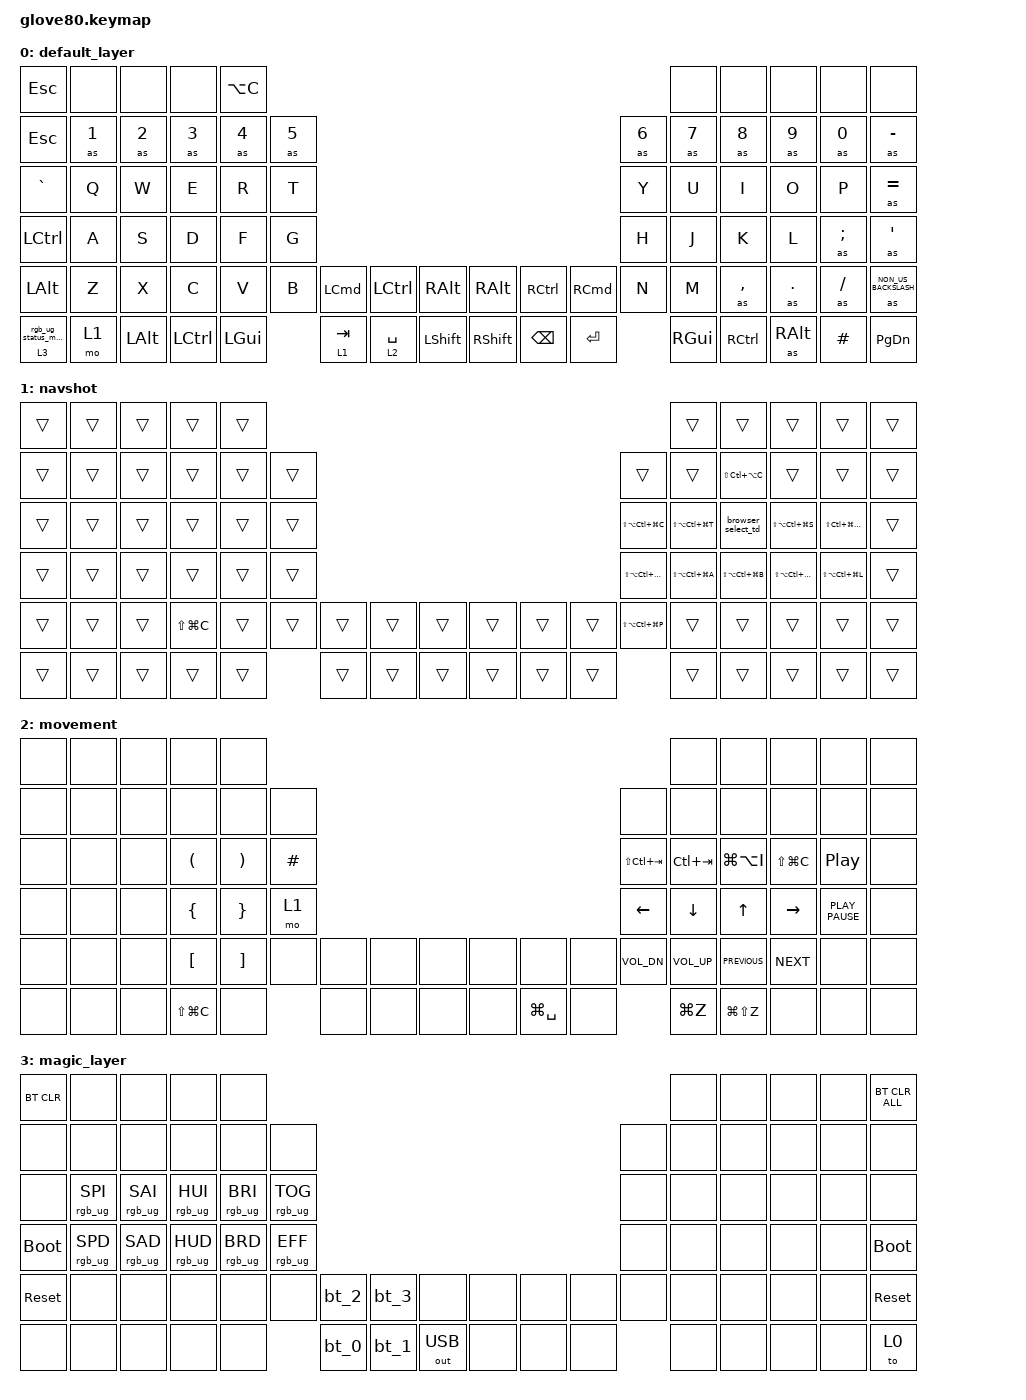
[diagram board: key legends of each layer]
/*
 * Copyright (c) 2020 The ZMK Contributors
 *
 * SPDX-License-Identifier: MIT
 */

#include <behaviors.dtsi>
#include <dt-bindings/zmk/bt.h>
#include <dt-bindings/zmk/keys.h>
#include <dt-bindings/zmk/outputs.h>
#include <dt-bindings/zmk/rgb.h>

#define HYPER LC(LS(LG(LALT)))

// layers

#define DEFAULT 0
#define LOWER 1
#define MAGIC 2
#define FACTORY_TEST 3

/ {
    tapping-term-ms = <160>;

    behaviors {
        // For the "layer" key, it'd nice to be able to use it as either a shift or a toggle.
        // Configure it as a tap dance, so the first tap (or hold) is a &mo and the second tap is a &to

        layer_td: tap_dance_0 {
            compatible = "zmk,behavior-tap-dance";
            label = "LAYER_TAP_DANCE";
            #binding-cells = <0>;
            tapping-term-ms = <200>;
            bindings = <&mo 0>, <&to 0>;
        };

        magic: magic_hold_tap {
            compatible = "zmk,behavior-hold-tap";
            label = "MAGIC_HOLD_TAP";
            #binding-cells = <2>;
            flavor = "tap-preferred";
            tapping-term-ms = <200>;
            bindings = <&mo>, <&rgb_ug_status_macro>;
        };

        as_ht: autoshift_hold_tap {
            compatible = "zmk,behavior-hold-tap";
            label = "AUTOSHIFT_HOLD_TAP";
            #binding-cells = <2>;
            tapping-term-ms = <200>;
            bindings = <&shifted>, <&kp>;
        };

        browser_select_td: tap_dance_browser_select {
            compatible = "zmk,behavior-tap-dance";
            label = "BROWSER_SELECT_TD";
            #binding-cells = <0>;
            tapping-term-ms = <200>; // Adjust if needed
            bindings = <&kp LA(LS(LC(LG(F))))>, <&kp LS(LC(LA(C)))>;
        };
    };

    macros {
        rgb_ug_status_macro: rgb_ug_status_macro_0 {
            label = "RGB_UG_STATUS";
            compatible = "zmk,behavior-macro";
            #binding-cells = <0>;
            bindings = <&rgb_ug RGB_STATUS>;
        };

        bt_0: bt_profile_macro_0 {
            label = "BT_0";
            compatible = "zmk,behavior-macro";
            #binding-cells = <0>;
            bindings = <&out OUT_BLE &bt BT_SEL 0>;
        };

        bt_1: bt_profile_macro_1 {
            label = "BT_1";
            compatible = "zmk,behavior-macro";
            #binding-cells = <0>;
            bindings = <&out OUT_BLE &bt BT_SEL 1>;
        };

        bt_2: bt_profile_macro_2 {
            label = "BT_2";
            compatible = "zmk,behavior-macro";
            #binding-cells = <0>;
            bindings = <&out OUT_BLE &bt BT_SEL 2>;
        };

        bt_3: bt_profile_macro_3 {
            label = "BT_3";
            compatible = "zmk,behavior-macro";
            #binding-cells = <0>;
            bindings = <&out OUT_BLE &bt BT_SEL 3>;
        };

        nmeth: nmeth {
            compatible = "zmk,behavior-macro";
            #binding-cells = <0>;
            bindings = <&kp RIGHT_BRACKET &kp M>;
            label = "NMETH";
        };

        pmeth: pmeth {
            compatible = "zmk,behavior-macro";
            #binding-cells = <0>;
            bindings = <&kp LEFT_BRACKET &kp M>;
            label = "PMETH";
        };

        shifted: macro_shifted_kp {
            #binding-cells = <1>;
            label = "MACRO_SHIFTED_KP";
            compatible = "zmk,behavior-macro-one-param";
            bindings =
                <&macro_press>,
                <&kp LSHFT &macro_param_1to1>,
                <&macro_tap>,
                <&kp MACRO_PLACEHOLDER>,
                <&macro_release>,
                <&kp LSHFT>;
        };

        as: autoshift {
            compatible = "zmk,behavior-macro-one-param";
            #binding-cells = <1>;
            label = "AUTOSHIFT_KP";
            bindings =
                <&macro_press>,
                <&macro_param_1to1 &macro_param_1to2 &as_ht MACRO_PLACEHOLDER MACRO_PLACEHOLDER>,
                <&macro_pause_for_release>,
                <&macro_release>,
                <&macro_param_1to1 &macro_param_1to2 &as_ht MACRO_PLACEHOLDER MACRO_PLACEHOLDER>;
        };
    };

    keymap {
        compatible = "zmk,keymap";

        default_layer {
            // ---------------------------------------------------------------------------------------------------------------------------------
            // |  F1   |  F2 |  F3 |  F4  |  F5  |                                                               |  F6   |  F7   |  F8  |   F9  |  F10 |
            // |  =    |  1  |  2  |  3   |  4   |  5   |                                                 |  6   |   7   |   8   |  9   |   0   |   -  |
            // |  TAB  |  Q  |  W  |  E   |  R   |  T   |                                                 |  Y   |   U   |   I   |  O   |   P   |   \  |
            // |  ESC  |  A  |  S  |  D   |  F   |  G   |                                                 |  H   |   J   |   K   |  L   |   ;   |   '  |
            // |   `   |  Z  |  X  |  C   |  V   |  B   | LSHFT | LCTRL | LOWER | | LGUI  | RCTRL | RSHFT |  N   |   M   |   ,   |  .   |   /   | PGUP |
            // | MAGIC | HOME| END | LEFT | RIGHT|      | BSPC  | DEL   | LALT  | | RALT  | RET   | SPACE |      |  UP   | DOWN  |  [   |   ]   | PGDN |

            bindings = <
&kp ESCAPE        &none   &none         &none             &kp LA(C)                                                                                                                       &none          &none              &none          &none     &none
&kp ESCAPE        &as N1  &as N2        &as N3            &as N4        &as N5                                                                                                    &as N6  &as N7         &as N8             &as N9         &as N0    &as MINUS
&kp GRAVE         &kp Q   &kp W         &kp E             &kp R         &kp T                                                                                                     &kp Y   &kp U          &kp I              &kp O          &kp P     &as EQUAL
&kp LEFT_CONTROL  &kp A   &kp S         &kp D             &kp F         &kp G                                                                                                     &kp H   &kp J          &kp K              &kp L          &as SEMI  &as SQT
&kp LEFT_ALT      &kp Z   &kp X         &kp C             &kp V         &kp B   &kp LEFT_COMMAND  &kp LEFT_CONTROL  &kp RIGHT_ALT   &kp RIGHT_ALT    &kp RIGHT_CONTROL  &kp RCMD  &kp N   &kp M          &as COMMA          &as DOT        &as FSLH  &as NON_US_BACKSLASH
&magic 3 0        &mo 1   &kp LEFT_ALT  &kp LEFT_CONTROL  &kp LEFT_GUI          &lt 1 TAB         &lt 2 SPACE       &kp LEFT_SHIFT  &kp RIGHT_SHIFT  &kp BACKSPACE      &kp RET           &kp RIGHT_GUI  &kp RIGHT_CONTROL  &as RIGHT_ALT  &kp HASH  &kp PG_DN
            >;
        };

        navshot {
            bindings = <
&trans  &trans  &trans  &trans         &trans                                                                                 &trans                 &trans                 &trans                 &trans                 &trans
&trans  &trans  &trans  &trans         &trans  &trans                                                  &trans                 &trans                 &kp LS(LC(LA(C)))      &trans                 &trans                 &trans
&trans  &trans  &trans  &trans         &trans  &trans                                                  &kp LS(LA(LC(LG(C))))  &kp LS(LA(LC(LG(T))))  &browser_select_td     &kp LS(LA(LC(LG(S))))  &kp LS(LC(LG(LA(M))))  &trans
&trans  &trans  &trans  &trans         &trans  &trans                                                  &kp LS(LA(LC(LG(O))))  &kp LS(LA(LC(LG(A))))  &kp LS(LA(LC(LG(B))))  &kp LS(LA(LC(LG(W))))  &kp LS(LA(LC(LG(L))))  &trans
&trans  &trans  &trans  &kp LS(LG(C))  &trans  &trans  &trans  &trans  &trans  &trans  &trans  &trans  &kp LS(LA(LC(LG(P))))  &trans                 &trans                 &trans                 &trans                 &trans
&trans  &trans  &trans  &trans         &trans          &trans  &trans  &trans  &trans  &trans  &trans                         &trans                 &trans                 &trans                 &trans                 &trans
            >;
        };

        movement {
            bindings = <
&none  &none  &none  &none                 &none                                                                                               &none            &none           &none          &none             &none
&none  &none  &none  &none                 &none                  &none                                                       &none            &none            &none           &none          &none             &none
&none  &none  &none  &kp LEFT_PARENTHESIS  &kp RIGHT_PARENTHESIS  &kp HASH                                                    &kp LS(LC(TAB))  &kp LC(TAB)      &kp LG(LA(I))   &kp LS(LG(C))  &kp C_PLAY_PAUSE  &none
&none  &none  &none  &kp LEFT_BRACE        &kp RIGHT_BRACE        &mo 1                                                       &kp LEFT         &kp DOWN         &kp UP          &kp RIGHT      &kp K_PLAY_PAUSE  &none
&none  &none  &none  &kp LEFT_BRACKET      &kp RIGHT_BRACKET      &none     &none  &none  &none  &none  &none          &none  &kp C_VOL_DN     &kp C_VOLUME_UP  &kp C_PREVIOUS  &kp C_NEXT     &none             &none
&none  &none  &none  &kp LS(LG(C))         &none                            &none  &none  &none  &none  &kp LG(SPACE)  &none                   &kp LG(Z)        &kp LG(LS(Z))   &none          &none             &none
            >;
        };

        magic_layer {
            bindings = <
&bt BT_CLR   &none            &none            &none            &none                                                                                     &none  &none  &none  &none  &bt BT_CLR_ALL
&none        &none            &none            &none            &none            &none                                                             &none  &none  &none  &none  &none  &none
&none        &rgb_ug RGB_SPI  &rgb_ug RGB_SAI  &rgb_ug RGB_HUI  &rgb_ug RGB_BRI  &rgb_ug RGB_TOG                                                   &none  &none  &none  &none  &none  &none
&bootloader  &rgb_ug RGB_SPD  &rgb_ug RGB_SAD  &rgb_ug RGB_HUD  &rgb_ug RGB_BRD  &rgb_ug RGB_EFF                                                   &none  &none  &none  &none  &none  &bootloader
&sys_reset   &none            &none            &none            &none            &none            &bt_2  &bt_3  &none         &none  &none  &none  &none  &none  &none  &none  &none  &sys_reset
&none        &none            &none            &none            &none                             &bt_0  &bt_1  &out OUT_USB  &none  &none  &none         &none  &none  &none  &none  &to 0
            >;
        };
    };
};
